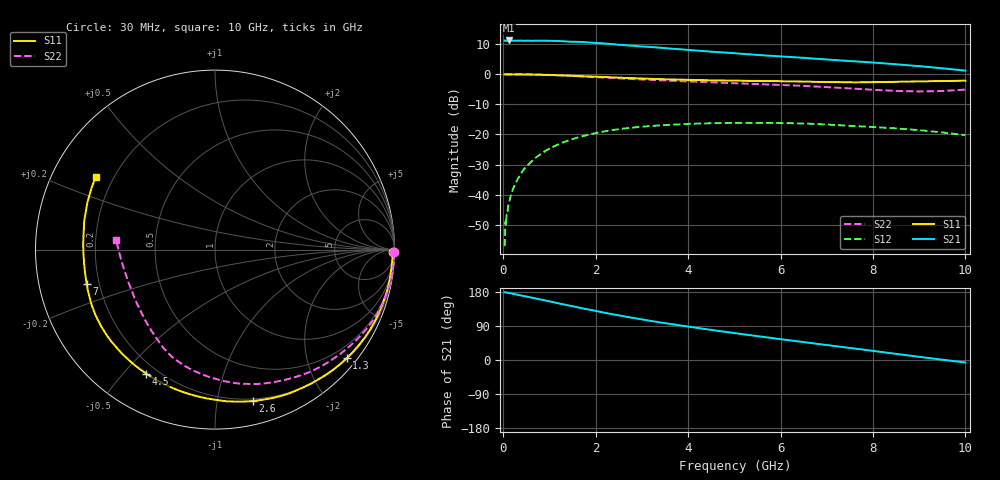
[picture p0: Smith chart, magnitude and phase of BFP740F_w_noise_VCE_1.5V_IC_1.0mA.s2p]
! Infineon Technologies  Discrete & RF Semiconductors
! BFP740F
! VCE =  1.5 V,  IC =  1.0 mA
! Common Emitter S-Parameters:  Oct 2012
# GHz  S  MA  R  50
!  f  S11  S21  S12  S22
! GHz  MAG  ANG  MAG  ANG  MAG  ANG  MAG  ANG
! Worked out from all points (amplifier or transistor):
!   99 points, 30 MHz to 10 GHz, reference 50 ohm
!   highest |S21| = 11.2 dB at 130 MHz (marker M1)
!   |S21| within 3 dB of that: start of sweep to 3.892 GHz
!   unconditionally stable (mu >= 1): nowhere
!   at 350 MHz: K = 0.00, MSG = 22.5 dB, |S12| = -33.8 dB
!   at 3.5 GHz: K = 0.20, MSG = 12.8 dB, |S12| = -16.9 dB
!   at 10 GHz: K = 0.93, MSG = 10.7 dB, |S12| = -20.2 dB
!   lowest NFmin = 0.44 dB at 450 MHz
!   S11 on the Smith chart (normalised r, x): 30 MHz: open; 1.3 GHz: 0.22, -2.77; 2.6 GHz: 0.18, -1.26; 4.5 GHz: 0.16, -0.58; 7 GHz: 0.15, -0.13; 10 GHz: 0.13, +0.28
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0.03  0.9896 -0.9  3.593 178.7  0.0014 94.9  0.9998 -0.7
0.05  0.989 -1.4  3.582 178.5  0.0036 83.4  0.9999 -1.1
0.06  0.9894 -1.8  3.582 178.3  0.0032 80.3  0.9998 -1.3
0.07  0.9897 -2.1  3.601 178.0  0.0044 84.0  0.9994 -1.5
0.09  0.9897 -2.8  3.609 177.5  0.0047 84.7  0.9997 -1.9
0.1  0.9899 -3.1  3.605 177.3  0.0059 90.2  0.9994 -2.2
0.13  0.9896 -4.0  3.619 176.5  0.0074 89.0  0.9987 -2.8
0.25  0.9881 -7.6  3.599 173.6  0.0147 85.7  0.9977 -5.4
0.5  0.984 -15.2  3.595 167.5  0.0294 79.2  0.9924 -10.9
0.9  0.9721 -27.4  3.584 157.4  0.0525 70.2  0.976 -19.7
1.3  0.9512 -39.5  3.505 146.9  0.074 60.7  0.9491 -28.6
1.7  0.9244 -51.4  3.414 136.7  0.0925 51.7  0.9163 -37.4
2.2  0.8945 -65.6  3.224 124.6  0.1127 40.6  0.8762 -48.5
2.6  0.869 -76.0  3.043 115.6  0.1247 32.6  0.8444 -56.5
3.4  0.8262 -95.3  2.743 99.1  0.1413 18.4  0.7904 -70.9
4.5  0.7905 -119.0  2.355 79.5  0.1531 1.7  0.7318 -86.8
5.1  0.778 -131.4  2.193 69.4  0.1554 -6.8  0.7014 -95.0
5.8  0.7662 -144.2  2.016 58.2  0.1552 -16.3  0.6709 -104.3
6.7  0.7464 -159.9  1.815 44.1  0.1494 -28.5  0.6254 -115.9
7  0.7402 -165.1  1.748 39.5  0.146 -32.3  0.6094 -119.6
8.5  0.746 167.6  1.457 16.2  0.1258 -48.8  0.5269 -146.7
10  0.7787 148.7  1.143 -6.6  0.0972 -64.8  0.554 174.5
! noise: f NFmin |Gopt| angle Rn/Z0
0.45  0.44  0.65  10  0.5
0.9  0.53  0.66  18  0.46
1.5  0.68  0.66  29  0.43
1.9  0.79  0.62  40  0.44
2.4  0.93  0.59  48  0.44
3.5  1.24  0.54  72  0.41
5.5  1.77  0.47  117  0.31
10  2.79  0.61  -140  0.14
